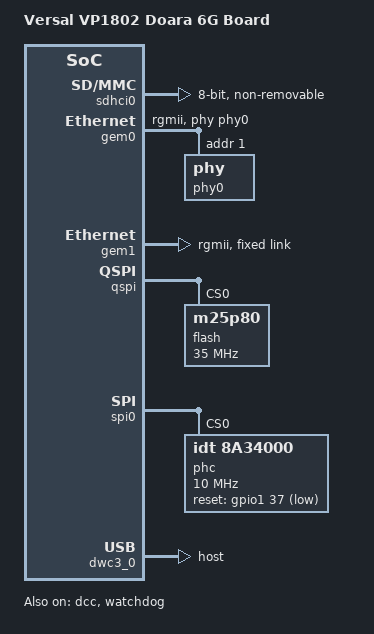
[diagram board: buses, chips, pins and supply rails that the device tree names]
/include/ "system-conf.dtsi"
#include <dt-bindings/interrupt-controller/irq.h>
#include <dt-bindings/gpio/gpio.h>

/ {
	compatible = "xlnx,versal-vmk180-revA", "xlnx,versal";
	model = "Versal VP1802 Doara 6G Board";

    gpio_keys:alarm_keys@0 {
        compatible = "gpio-keys";
        label = "Versal Interrupt collection";
    };
	
	aliases {
		serial0 = &serial0;
		serial2 = &dcc;
		ethernet0 = &gem0;
		ethernet1 = &gem1;
		i2c0 = &i2c0;
		i2c1 = &i2c1;
		mmc1 = &sdhci1;
		mmc0 = &sdhci0;
		spi0 = &qspi;
		usb0 = &usb0;
		rtc0 = &rtc;
	};
};

&amba_pl {
    fpga_uio: fpga_uio@a4000000 {
        compatible = "generic-uio";
        reg = <0x0 0xA4000000 0x0 0x20000000>;
    };
};

/* PMC_MIO 0 -12 - configuration header QSPI/OSPI/EMMC */
/* FIXME PMC_MIO37 ZU4_TRIGGER/PMC_MIO37/38 PCIE */

&dcc {
	status = "okay";
};

&sdhci0 {
        status = "okay";
        bus-width = <8>;
        non-removable;
        cap-mmc-highspeed;
        cap-sd-highspeed;
        disable-wp;
        no-1-8-v;
};

&sdhci1 { /* PMC_MIO26-36/51 */
	status = "disabled";
	xlnx,mio-bank = <1>;
	no-1-8-v;
};

&gem0 {
    status = "okay";
    phy-handle = <&phy0>;
    phy-mode = "rgmii";
    is-internal-pcspma = <0x1>;
    phy0: phy@1 {
        reg = <0x1>;
    };
};

&gem1 {
	status = "okay";
	phy-mode = "rgmii";
	is-internal-pcspma = <0x1>;

	fixed-link {
		speed = <1000>;
		full-duplex;
	};

	switch-link {
		reset-gpios = <&gpio1 35 0>;
		fixed-ports = <0x3bf>;
		phy-ports = <0x40>;
	};
};

&qspi { /* PMC_MIO_500 0 - 12 */
	num-cs = <1>;
	is-dual = <0>;
	spi-rx-bus-width = <4>;
	spi-tx-bus-width = <4>;

	flash@0 {
		compatible = "m25p80", "jedec,spi-nor";
		#address-cells = <1>;
		#size-cells = <1>;
		reg = <0>;
		spi-tx-bus-width = <4>;
		spi-rx-bus-width = <4>;
		spi-max-frequency = <35000000>;
	};
};

&spi0 {
    status = "okay";
    num-cs = <1>;
    u-boot,dm-pre-reloc;
    phc@0 {
        compatible="idt,8a34000";
        reg = <0>;
        spi-max-frequency = <10000000>;
        reset-gpio = <&gpio1 37 1>;//GPIO_ACTIVE_LOW
    };
};


&dwc3_0 { /* USB 2.0 host */
	dr_mode = "host";
	maximum-speed = "high-speed";
	snps,dis_u2_susphy_quirk;
	snps,dis_u3_susphy_quirk;
	snps,usb3_lpm_capable;
};


&watchdog {
        status = "okay";
        reset-on-timeout;
};

&axi_intc_0 {
    status = "disabled";
};

&axi_firewall_0 {
    status = "disabled";
};

&support_1588_2step_timer1588_subs_timer_1588_v2_0_1 {
   compatible = "xlnx,timer-1588-2.0";
   xlnx,period = <4000000>;
   pps_in_fifo = <&axi_fifo_mm_s_0>;
};

&support_1588_2step1_timer1588_subs_timer_1588_v2_0_1 {
   compatible = "xlnx,timer-1588-2.0";
   xlnx,period = <4000000>;
   status = "disabled";
};

&xxv_ethernet_0 {
       status = "disabled";
       axistream-connected = <&axi_mcdma_0>;
       axistream-control-connected = <&axi_mcdma_0>;
       axififo-connected = <&support_1588_2step_tx_ts_fifo_axi_fifo_mm_s_0>;
       xlnx,rxtsfifo = <&support_1588_2step_rx_ts_fifo_axi_fifo_mm_s_0>;
       xlnx,num-queues = /bits/ 16 <0x1>;
       xlnx,channel-ids = "1";
       xlnx,include-dre;
       xlnx,rxmem = <0x3000>;
       interrupt-names = "mm2s_ch1_introut", "s2mm_ch1_introut";
       interrupt-parent = <&gic>;
       interrupts = <0 94 4 0 96 4>;
       local-mac-address = [00 0A 35 00 1A AE];
};

&xxv_ethernet_1 {
       status = "disabled";
       axistream-connected = <&axi_mcdma_0>;
       axistream-control-connected = <&axi_mcdma_0>;
       axififo-connected = <&support_1588_2step1_tx_ts_fifo_axi_fifo_mm_s_0>;
       xlnx,rxtsfifo = <&support_1588_2step1_rx_ts_fifo_axi_fifo_mm_s_0>;
       xlnx,num-queues = /bits/ 16 <0x1>;
       xlnx,channel-ids = "2";
       xlnx,include-dre;
       xlnx,rxmem = <0x3000>;
       interrupt-names = "mm2s_ch2_introut", "s2mm_ch2_introut";
       interrupt-parent = <&gic>;
       interrupts = <0 95 4 0 97 4>;
       local-mac-address = [00 0A 35 00 1A AF];
};

&axi_mcdma_0 {
       compatible = "xlnx,eth-dma";
       xlnx,include-dre;
};
